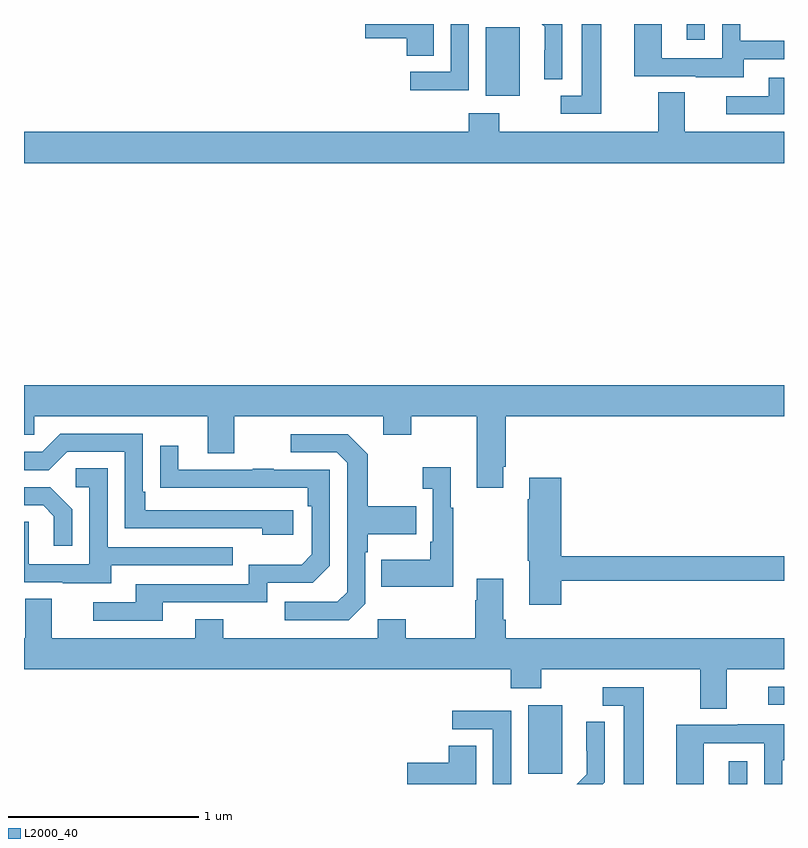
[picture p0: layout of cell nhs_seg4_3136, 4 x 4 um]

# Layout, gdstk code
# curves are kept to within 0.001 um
import gdstk
lib = gdstk.Library(unit=1e-6, precision=1e-09)
def R(c, l, rs):  # rectangles x0, y0, x1, y1
    for r in rs: c.add(gdstk.rectangle(r[:2], r[2:], *l))
def P(c, l, *ps):  # polygons
    for p in ps: c.add(gdstk.Polygon(p, *l))
L2000_40 = (2000, 40)

nhs_seg4_3136 = lib.new_cell('nhs_seg4_3136')
R(nhs_seg4_3136, L2000_40, [(280.709,778.9,280.806,779.02), (279.653,778.953,279.832,779.314), (280.917,779.316,281,779.412), (279.431,782.522,279.61,782.883), (280.487,782.817,280.584,782.9)])
P(nhs_seg4_3136, L2000_40, [(280.039,782.9),(279.935,782.9),(279.935,782.523),(279.825,782.523),(279.825,782.427),(280.039,782.427)],
  [(279.342,782.9),(279.246,782.9),(279.246,782.649),(279.033,782.649),(279.033,782.551),(279.342,782.551)],
  [(279.834,782.9),(279.725,782.9),(279.74,782.885),(279.74,782.762),(279.738,782.762),(279.738,782.608),(279.834,782.608)],
  [(280.789,782.715),(281,782.715),(281,782.811),(280.77,782.811),(280.77,782.9),(280.674,782.9),(280.674,782.721),(280.356,782.721),(280.356,782.9),(280.211,782.9),(280.211,782.625),(280.535,782.625),(280.535,782.621),(280.789,782.621)],
  [(279.157,782.9),(278.796,782.9),(278.796,782.825),(279.014,782.825),(279.014,782.734),(279.157,782.734)],
  [(281,782.616),(280.919,782.616),(280.919,782.52),(280.695,782.52),(280.695,782.424),(281,782.424)],
  [(281,782.332),(280.477,782.332),(280.477,782.54),(280.337,782.54),(280.337,782.332),(279.501,782.332),(279.501,782.431),(279.341,782.431),(279.341,782.332),(277,782.332),(277,782.168),(281,782.168)],
  [(279.523,780.571),(279.536,780.571),(279.536,780.836),(281,780.836),(281,781),(277,781),(277,780.738),(277.053,780.738),(277.053,780.836),(277.967,780.836),(277.967,780.642),(278.107,780.642),(278.107,780.836),(278.891,780.836),(278.891,780.737),(279.039,780.737),(279.039,780.836),(279.383,780.836),(279.383,780.459),(279.523,780.459)],
  [(278.416,780.342),(277.639,780.342),(277.639,780.439),(277.626,780.439),(277.626,780.744),(277.191,780.744),(277.095,780.648),(277,780.648),(277,780.552),(277.131,780.552),(277.227,780.648),(277.53,780.648),(277.53,780.246),(278.255,780.246),(278.255,780.212),(278.416,780.212)],
  [(278.796,779.85),(278.796,780.119),(278.809,780.119),(278.809,780.215),(279.065,780.215),(279.065,780.363),(278.809,780.363),(278.809,780.635),(278.703,780.741),(278.403,780.741),(278.403,780.645),(278.646,780.645),(278.7,780.591),(278.7,779.91),(278.649,779.859),(278.373,779.859),(278.373,779.763),(278.709,779.763)],
  [(277.729,779.856),(278.28,779.856),(278.28,779.958),(278.52,779.958),(278.61,780.048),(278.61,780.555),(278.315,780.555),(278.315,780.56),(278.203,780.56),(278.203,780.555),(277.813,780.555),(277.813,780.679),(277.717,780.679),(277.717,780.46),(278.494,780.459),(278.494,780.362),(278.514,780.362),(278.514,780.108),(278.461,780.055),(278.184,780.055),(278.184,779.952),(277.589,779.952),(277.589,779.856),(277.365,779.856),(277.365,779.76),(277.729,779.76)],
  [(279.259,780.355),(279.247,780.355),(279.247,780.568),(279.099,780.568),(279.099,780.455),(279.15,780.455),(279.15,780.175),(279.138,780.175),(279.138,780.079),(278.881,780.079),(278.881,779.939),(279.259,779.939)],
  [(277.459,780.051),(278.099,780.051),(278.099,780.147),(277.44,780.147),(277.44,780.563),(277.272,780.563),(277.272,780.462),(277.344,780.462),(277.344,780.057),(277.026,780.057),(277.026,780.281),(277,780.281),(277,779.961),(277.205,779.961),(277.205,779.957),(277.459,779.957)],
  [(279.827,779.97),(281,779.97),(281,780.098),(279.827,780.098),(279.827,780.511),(279.659,780.511),(279.659,780.398),(279.652,780.398),(279.652,780.075),(279.659,780.075),(279.659,779.844),(279.827,779.844)],
  [(277.254,780.346),(277.138,780.462),(277,780.462),(277,780.366),(277.1,780.366),(277.157,780.309),(277.157,780.153),(277.254,780.153)],
  [(280.699,779.504),(281,779.504),(281,779.668),(279.536,779.668),(279.536,779.764),(279.523,779.764),(279.523,779.98),(279.383,779.98),(279.383,779.867),(279.376,779.867),(279.376,779.668),(279.009,779.668),(279.009,779.767),(278.862,779.767),(278.862,779.668),(278.049,779.668),(278.049,779.767),(277.901,779.767),(277.901,779.668),(277.147,779.668),(277.147,779.876),(277.007,779.876),(277.007,779.668),(277,779.668),(277,779.504),(279.563,779.504),(279.563,779.405),(279.723,779.405),(279.723,779.504),(280.559,779.504),(280.559,779.296),(280.699,779.296)],
  [(280.261,779.409),(280.047,779.409),(280.047,779.313),(280.157,779.313),(280.157,778.9),(280.261,778.9)],
  [(279.564,779.286),(279.255,779.286),(279.255,779.187),(279.468,779.187),(279.468,778.9),(279.564,778.9)],
  [(280.056,778.91),(280.056,779.228),(279.96,779.228),(279.96,779.074),(279.962,779.074),(279.962,778.952),(279.91,778.9),(280.046,778.9)],
  [(280.578,779.115),(280.896,779.115),(280.896,778.9),(280.992,778.9),(280.992,779.025),(281,779.025),(281,779.215),(280.757,779.215),(280.757,779.211),(280.433,779.211),(280.433,778.9),(280.578,778.9)],
  [(279.379,779.102),(279.236,779.102),(279.236,779.012),(279.018,779.012),(279.018,778.9),(279.379,778.9)])

lib.write_gds('nhs_seg4_3136.gds')
